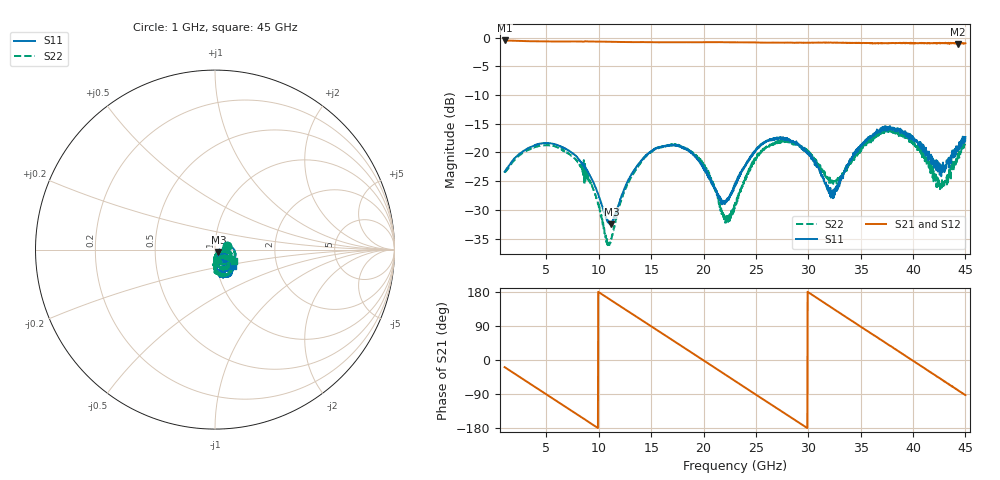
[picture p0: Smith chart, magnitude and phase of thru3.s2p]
!Keysight Technologies,N5247B,MY61255062,A.19.80.06
!Date: Thursday, May 21, 2026 12:03:32
!Correction: S11(Cdelta 2-Port  )
!S21(Cdelta 2-Port  )
!S12(Cdelta 2-Port  )
!S22(Cdelta 2-Port  )
!S2P File: Measurements: S11, S21, S12, S22:
# Hz S  dB  R 50
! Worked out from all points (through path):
!   1601 points, 1 GHz to 45 GHz, reference 50 ohm
!   highest |S21| = -0.50 dB at 1 GHz (marker M1); lowest = -1.1 dB at 44.26 GHz (marker M2)
!   group delay of S21, straight-line fit = 50.1 ps
!   lowest |S11| = -32.5 dB at 11.2 GHz (marker M3), VSWR 1.05, Z = 52 - j1.4 ohm
!   |S11| at or under -10 dB: start of sweep to end of sweep
!   |S22| runs from -36.3 to -16.0 dB; largest |S21 - S12| = 0.02
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1e9  -23.36 15.7  -0.50 -18.8  -0.50 -18.8  -23.49 15.2
4.74e9  -18.38 -22.9  -0.66 -86.2  -0.66 -86.2  -18.75 -22.0
6.5e9  -19.05 -47.5  -0.67 -117.8  -0.68 -117.8  -19.51 -47.6
8.3425e9  -21.77 -70.8  -0.68 -151.2  -0.69 -151.2  -22.86 -73.5
1.12025e10  -32.52 -34.6  -0.73 157.0  -0.74 157.0  -35.07 -17.4
1.29075e10  -24.55 -7.9  -0.79 126.4  -0.79 126.4  -25.00 4.0
1.5685e10  -19.16 -37.2  -0.81 76.6  -0.82 76.6  -19.28 -28.5
1.948e10  -21.26 -84.0  -0.81 8.3  -0.82 8.3  -20.98 -81.0
2.19275e10  -28.88 -59.1  -0.81 -36.0  -0.81 -36.1  -30.81 -69.1
2.3e10  -25.69 -27.0  -0.82 -55.3  -0.83 -55.3  -28.81 -23.6
2.465e10  -20.58 -30.7  -0.85 -85.2  -0.85 -85.2  -22.10 -14.6
2.63275e10  -17.66 -49.9  -0.89 -115.3  -0.89 -115.3  -18.77 -35.7
2.839e10  -18.06 -73.9  -0.89 -152.4  -0.89 -152.6  -18.35 -61.7
3.03425e10  -21.20 -92.4  -0.88 172.6  -0.88 172.5  -20.43 -78.9
3.2295e10  -26.69 -63.7  -0.89 137.1  -0.88 137.1  -24.91 -59.5
3.41925e10  -20.89 -33.9  -0.93 102.5  -0.93 102.4  -21.56 -37.7
3.58425e10  -17.35 -44.7  -0.94 73.0  -0.95 72.8  -17.78 -43.4
3.7685e10  -15.90 -62.1  -0.99 39.9  -0.97 39.8  -16.42 -61.7
4.0765e10  -19.36 -87.0  -0.96 -15.9  -0.98 -16.0  -20.23 -91.5
4.2745e10  -22.21 -58.0  -0.95 -51.6  -1.01 -51.6  -26.13 -52.9
4.42575e10  -19.75 -40.5  -1.09 -79.5  -1.03 -79.2  -20.66 -28.8
4.5e10  -17.31 -43.4  -0.99 -92.7  -1.01 -92.6  -18.15 -31.9
